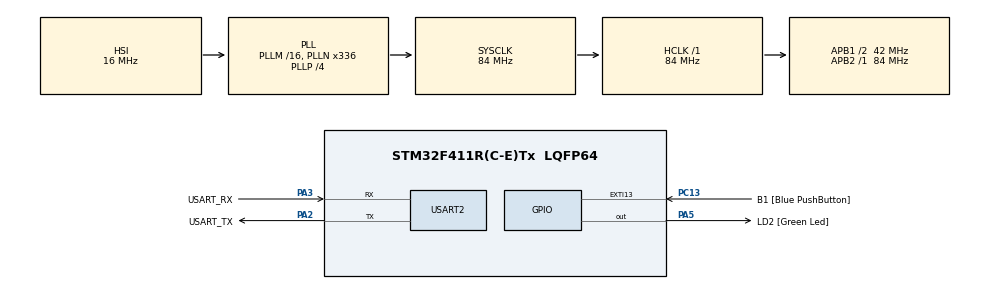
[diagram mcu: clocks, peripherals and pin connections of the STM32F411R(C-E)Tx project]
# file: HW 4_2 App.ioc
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IWDG.Prescaler=IWDG_PRESCALER_64
IWDG.Reload=1000
Mcu.Family=STM32F4
Mcu.Name=STM32F411R(C-E)Tx
Mcu.Package=LQFP64
NVIC.PriorityGroup=NVIC_PRIORITYGROUP_0
PA13.GPIO_Label=TMS
PA13.Mode=Serial_Wire
PA13.Signal=SYS_JTMS-SWDIO
PA14.GPIO_Label=TCK
PA14.Mode=Serial_Wire
PA14.Signal=SYS_JTCK-SWCLK
PA2.GPIO_Label=USART_TX
PA2.Mode=Asynchronous
PA2.Signal=USART2_TX
PA3.GPIO_Label=USART_RX
PA3.Mode=Asynchronous
PA3.Signal=USART2_RX
PA5.GPIO_Label=LD2 [Green Led]
PA5.Signal=GPIO_Output
PB3.GPIO_Label=SWO
PB3.Signal=SYS_JTDO-SWO
PC13-ANTI_TAMP.GPIO_Label=B1 [Blue PushButton]
PC13-ANTI_TAMP.GPIO_ModeDefaultEXTI=GPIO_MODE_IT_FALLING
PC13-ANTI_TAMP.Signal=GPXTI13
PC14-OSC32_IN.Mode=LSE-External-Oscillator
PC14-OSC32_IN.Signal=RCC_OSC32_IN
PC15-OSC32_OUT.Mode=LSE-External-Oscillator
PC15-OSC32_OUT.Signal=RCC_OSC32_OUT
PH0\ -\ OSC_IN.Mode=HSE-External-Clock-Source
PH0\ -\ OSC_IN.Signal=RCC_OSC_IN
PH1\ -\ OSC_OUT.Mode=HSE-External-Clock-Source
PH1\ -\ OSC_OUT.Signal=RCC_OSC_OUT
ProjectManager.HeapSize=0x200
ProjectManager.StackSize=0x400
ProjectManager.TargetToolchain=STM32CubeIDE
RCC.48MHZClocksFreq_Value=84000000
RCC.AHBFreq_Value=84000000
RCC.APB1CLKDivider=RCC_HCLK_DIV2
RCC.APB1Freq_Value=42000000
RCC.APB1TimFreq_Value=84000000
RCC.APB2Freq_Value=84000000
RCC.APB2TimFreq_Value=84000000
RCC.CortexFreq_Value=84000000
RCC.FLatency-AdvancedSettings=FLASH_LATENCY_2
RCC.HCLKFreq_Value=84000000
RCC.HSE_VALUE=8000000
RCC.HSI_VALUE=16000000
RCC.PLLN=336
RCC.PLLP=RCC_PLLP_DIV4
RCC.SYSCLKFreq_VALUE=84000000
RCC.SYSCLKSource=RCC_SYSCLKSOURCE_PLLCLK
RCC.VCOOutputFreq_Value=336000000
USART2.VirtualMode=VM_ASYNC
VP_IWDG_VS_IWDG.Mode=IWDG_Activate
board=NUCLEO-F411RE

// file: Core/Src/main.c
/* USER CODE BEGIN Header */
/**
  ******************************************************************************
  * @file           : main.c
  * @brief          : Main program body
  ******************************************************************************
  * @attention
  *
  * Copyright (c) 2026 STMicroelectronics.
  * All rights reserved.
  *
  * This software is licensed under terms that can be found in the LICENSE file
  * in the root directory of this software component.
  * If no LICENSE file comes with this software, it is provided AS-IS.
  *
  ******************************************************************************
  */
/* USER CODE END Header */
#include "main.h"

/* USER CODE BEGIN Includes */
//#include "stm32f4xx_hal_iwdg.h"   /* Правильный заголовочный файл для IWDG */
//#include "iwdg.h"           /* Добавлено: для IWDG_HandleTypeDef и HAL_IWDG_Refresh */
/* USER CODE END Includes */

/* USER CODE BEGIN PD */
// =======================================================================
/* ------------------- НАСТРОЙКИ --------------------------------------------- */
#define APP_START_ADDRESS    0x0800C000
/* IWDG регистр для прямого доступа */
#define IWDG_KEY_REFRESH        0xAAAA
// =======================================================================
/* USER CODE END PD */

IWDG_HandleTypeDef hiwdg;

UART_HandleTypeDef huart2;

/* USER CODE BEGIN PV */
// =======================================================================

// =======================================================================
/* USER CODE END PV */

void SystemClock_Config(void);
static void MX_GPIO_Init(void);
static void MX_USART2_UART_Init(void);
static void MX_IWDG_Init(void);
/* USER CODE BEGIN PFP */
// =======================================================================
static void FeedWatchdog(void);
void Error_Handler(void);
// =======================================================================
/* USER CODE END PFP */

/* USER CODE BEGIN 0 */
// =======================================================================
void FeedWatchdog(void)
{
    IWDG->KR = 0xAAAA;
}
// =======================================================================
/* USER CODE END 0 */

int main(void)
{

  /* USER CODE BEGIN 1 */
// =======================================================================
	  /* Перенастройка вектора прерываний на адрес приложения */
	__disable_irq();
	SCB->VTOR = APP_START_ADDRESS;
	__enable_irq();
// =======================================================================
  /* USER CODE END 1 */

  /* MCU Configuration--------------------------------------------------------*/

  /* Reset of all peripherals, Initializes the Flash interface and the Systick. */
  HAL_Init();

  /* Configure the system clock */
  SystemClock_Config();

  /* Initialize all configured peripherals */
  MX_GPIO_Init();
  MX_USART2_UART_Init();
  MX_IWDG_Init();
  /* USER CODE BEGIN 2 */
  // =======================================================================

  // =======================================================================
  /* USER CODE END 2 */

  /* Infinite loop */
  /* USER CODE BEGIN WHILE */
  uint32_t last_toggle = HAL_GetTick();
  while (1)
  {
      FeedWatchdog();

      uint32_t now = HAL_GetTick();
      if ((now - last_toggle) >= 500)
      {
          last_toggle = now;
          HAL_GPIO_TogglePin(LD2_GPIO_Port, LD2_Pin);
      }

    /* USER CODE END WHILE */

  }
}

void SystemClock_Config(void)
{
  RCC_OscInitTypeDef RCC_OscInitStruct = {0};
  RCC_ClkInitTypeDef RCC_ClkInitStruct = {0};

  /** Configure the main internal regulator output voltage
  */
  __HAL_RCC_PWR_CLK_ENABLE();
  __HAL_PWR_VOLTAGESCALING_CONFIG(PWR_REGULATOR_VOLTAGE_SCALE1);

  /** Initializes the RCC Oscillators according to the specified parameters
  * in the RCC_OscInitTypeDef structure.
  */
  RCC_OscInitStruct.OscillatorType = RCC_OSCILLATORTYPE_HSI|RCC_OSCILLATORTYPE_LSI;
  RCC_OscInitStruct.HSIState = RCC_HSI_ON;
  RCC_OscInitStruct.HSICalibrationValue = RCC_HSICALIBRATION_DEFAULT;
  RCC_OscInitStruct.LSIState = RCC_LSI_ON;
  RCC_OscInitStruct.PLL.PLLState = RCC_PLL_ON;
  RCC_OscInitStruct.PLL.PLLSource = RCC_PLLSOURCE_HSI;
  RCC_OscInitStruct.PLL.PLLM = 16;
  RCC_OscInitStruct.PLL.PLLN = 336;
  RCC_OscInitStruct.PLL.PLLP = RCC_PLLP_DIV4;
  RCC_OscInitStruct.PLL.PLLQ = 4;
  if (HAL_RCC_OscConfig(&RCC_OscInitStruct) != HAL_OK)
  {
    Error_Handler();
  }

  /** Initializes the CPU, AHB and APB buses clocks
  */
  RCC_ClkInitStruct.ClockType = RCC_CLOCKTYPE_HCLK|RCC_CLOCKTYPE_SYSCLK
                              |RCC_CLOCKTYPE_PCLK1|RCC_CLOCKTYPE_PCLK2;
  RCC_ClkInitStruct.SYSCLKSource = RCC_SYSCLKSOURCE_PLLCLK;
  RCC_ClkInitStruct.AHBCLKDivider = RCC_SYSCLK_DIV1;
  RCC_ClkInitStruct.APB1CLKDivider = RCC_HCLK_DIV2;
  RCC_ClkInitStruct.APB2CLKDivider = RCC_HCLK_DIV1;

  if (HAL_RCC_ClockConfig(&RCC_ClkInitStruct, FLASH_LATENCY_2) != HAL_OK)
  {
    Error_Handler();
  }
}

static void MX_IWDG_Init(void)
{

  hiwdg.Instance = IWDG;
  hiwdg.Init.Prescaler = IWDG_PRESCALER_64;
  hiwdg.Init.Reload = 1000;
  if (HAL_IWDG_Init(&hiwdg) != HAL_OK)
  {
    Error_Handler();
  }

}

static void MX_USART2_UART_Init(void)
{

  huart2.Instance = USART2;
  huart2.Init.BaudRate = 115200;
  huart2.Init.WordLength = UART_WORDLENGTH_8B;
  huart2.Init.StopBits = UART_STOPBITS_1;
  huart2.Init.Parity = UART_PARITY_NONE;
  huart2.Init.Mode = UART_MODE_TX_RX;
  huart2.Init.HwFlowCtl = UART_HWCONTROL_NONE;
  huart2.Init.OverSampling = UART_OVERSAMPLING_16;
  if (HAL_UART_Init(&huart2) != HAL_OK)
  {
    Error_Handler();
  }

}

static void MX_GPIO_Init(void)
{
  GPIO_InitTypeDef GPIO_InitStruct = {0};

  /* GPIO Ports Clock Enable */
  __HAL_RCC_GPIOC_CLK_ENABLE();
  __HAL_RCC_GPIOH_CLK_ENABLE();
  __HAL_RCC_GPIOA_CLK_ENABLE();
  __HAL_RCC_GPIOB_CLK_ENABLE();

  /*Configure GPIO pin Output Level */
  HAL_GPIO_WritePin(LD2_GPIO_Port, LD2_Pin, GPIO_PIN_RESET);

  /*Configure GPIO pin : B1_Pin */
  GPIO_InitStruct.Pin = B1_Pin;
  GPIO_InitStruct.Mode = GPIO_MODE_IT_FALLING;
  GPIO_InitStruct.Pull = GPIO_NOPULL;
  HAL_GPIO_Init(B1_GPIO_Port, &GPIO_InitStruct);

  /*Configure GPIO pin : LD2_Pin */
  GPIO_InitStruct.Pin = LD2_Pin;
  GPIO_InitStruct.Mode = GPIO_MODE_OUTPUT_PP;
  GPIO_InitStruct.Pull = GPIO_NOPULL;
  GPIO_InitStruct.Speed = GPIO_SPEED_FREQ_LOW;
  HAL_GPIO_Init(LD2_GPIO_Port, &GPIO_InitStruct);

}

/* USER CODE BEGIN 4 */
// =======================================================================

// =======================================================================
/* USER CODE END 4 */

void Error_Handler(void)
{
  /* USER CODE BEGIN Error_Handler_Debug */
  /* User can add his own implementation to report the HAL error return state */
  __disable_irq();
  while (1)
  {
      HAL_GPIO_TogglePin(LD2_GPIO_Port, LD2_Pin);
      HAL_Delay(100);
  }
  /* USER CODE END Error_Handler_Debug */
}
